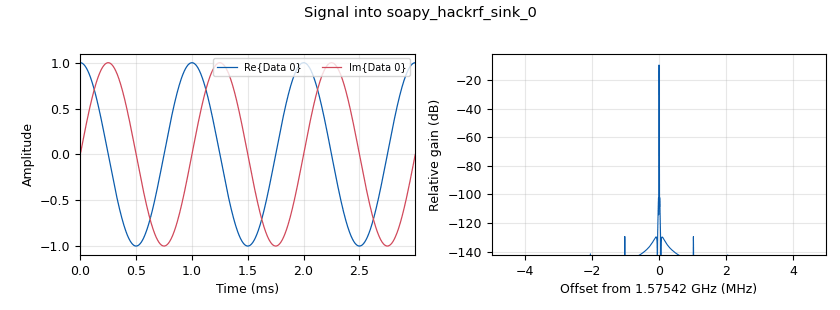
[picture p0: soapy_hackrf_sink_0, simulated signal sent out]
options:
  parameters:
    generate_options: qt_gui
    id: CW_jammer
    output_language: python
    title: Not titled yet
  states: {}

blocks:
- name: center_freq
  id: variable_qtgui_range
  parameters:
    start: target_center-10e6
    step: '1'
    stop: target_center+10e6
    value: target_center
  states: {}
- name: freq_bias
  id: variable_qtgui_range
  parameters:
    start: '-1e5'
    step: '1'
    stop: 1e5
    value: '0'
  states: {}
- name: samp_rate
  id: variable
  parameters:
    value: 10e6
  states: {}
- name: target_center
  id: variable
  parameters:
    value: 1.57542e9
  states: {}
- name: analog_sig_source_x_0
  id: analog_sig_source_x
  parameters:
    amp: '1'
    freq: '1000'
    offset: '0'
    phase: '0'
    samp_rate: samp_rate
    type: complex
    waveform: analog.GR_COS_WAVE
  states: {}
- name: soapy_hackrf_sink_0
  id: soapy_hackrf_sink
  parameters:
    center_freq: center_freq+freq_bias-1000
    samp_rate: samp_rate
    type: fc32
    vga: '20'
  states: {}

connections:
- [analog_sig_source_x_0, '0', soapy_hackrf_sink_0, '0']

metadata:
  file_format: 1
  grc_version: 3.10.3.0
